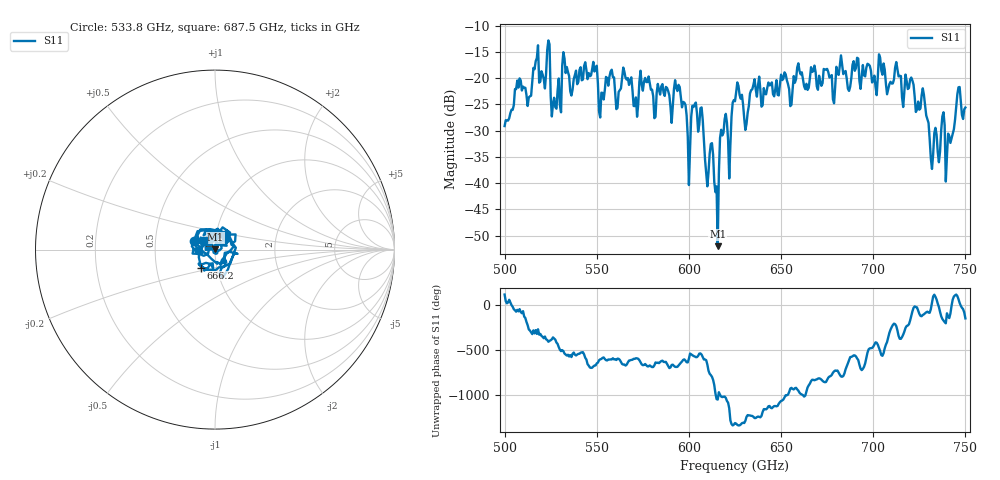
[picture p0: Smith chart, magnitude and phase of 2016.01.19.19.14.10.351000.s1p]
!Created with skrf (http://scikit-rf.org).
# GHz S RI R 50.0
!freq ReS11 ImS11
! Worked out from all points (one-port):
!   401 points, 500 GHz to 750 GHz, reference 50 ohm
!   lowest |S11| = -52.0 dB at 615.6 GHz (marker M1), VSWR 1.01, Z = 50.2 + j0.112 ohm
!   |S11| at or under -10 dB: start of sweep to end of sweep
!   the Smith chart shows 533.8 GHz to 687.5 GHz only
!   S11 on the Smith chart (normalised r, x): 533.8 GHz: 0.78, +0.07; 666.2 GHz: 0.84, -0.17; 687.5 GHz: 0.88, +0.09
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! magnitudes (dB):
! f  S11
! 500 GHz  -29.2
! 507.5 GHz  -21.8
! 513.1 GHz  -23.7
! 516.9 GHz  -16.8
! 523.8 GHz  -12.8
! 526.9 GHz  -23.8
! 531.2 GHz  -17.6
! 533.8 GHz  -17.9
! 562.5 GHz  -22.3
! 593.8 GHz  -22.5
! 600 GHz  -40.4
! 602.5 GHz  -25.5
! 606.9 GHz  -25.6
! 609.4 GHz  -38.0
! 615.6 GHz  -52.0
! 618.1 GHz  -30.9
! 621.9 GHz  -39.1
! 625 GHz  -24.4
! 631.2 GHz  -28.7
! 635 GHz  -21.3
! 656.2 GHz  -22.2
! 666.2 GHz  -17.9
! 687.5 GHz  -21.6
! 718.8 GHz  -22.1
! 727.5 GHz  -23.2
! 731.9 GHz  -37.3
! 746.2 GHz  -21.8
! 750 GHz  -25.6
